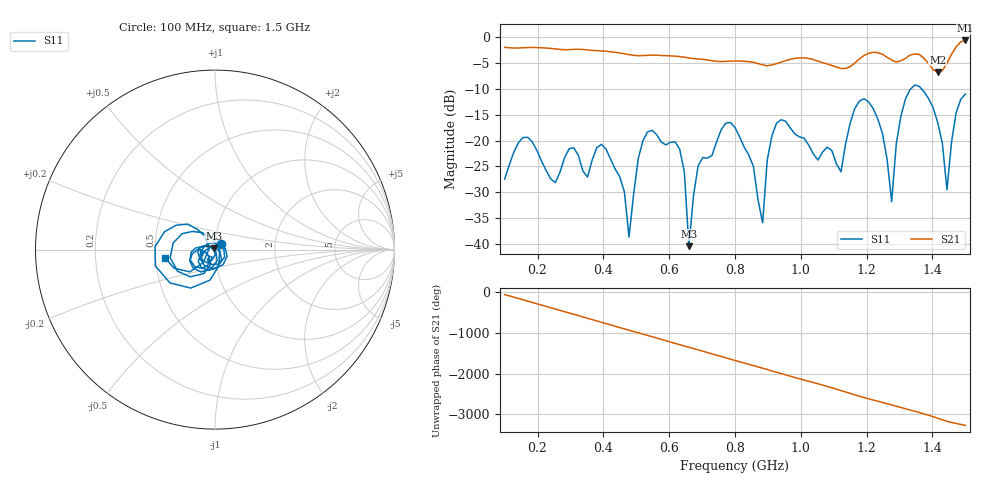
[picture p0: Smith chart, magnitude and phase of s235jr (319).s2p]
! NanoVNA-App
! Date: 2025-09-25 15:06:39
! Start: 100MHz Stop: 1,5GHz Points: 101
! S-Parameter data: F S11 S21 S12 S22
# Hz S RI R 50
!  Frequency  S11_Real  S11_Imag  S21_Real  S21_Imag  S12_Real  S12_Imag  S22_Real  S22_Imag
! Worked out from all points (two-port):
!   101 points, 100 MHz to 1.5 GHz, reference 50 ohm
!   highest |S21| = -0.63 dB at 1.5 GHz (marker M1); lowest = -6.7 dB at 1.416 GHz (marker M2)
!   |S21| within 3 dB of the highest: start of sweep to 607.4 MHz; 1.19 GHz to 1.256 GHz (65.88 MHz wide, 5.39 % of centre) (the widest 2 of 4)
!   lowest |S11| = -40.4 dB at 660 MHz (marker M3), VSWR 1.02, Z = 49.3 + j0.606 ohm
!   |S11| at or under -10 dB: start of sweep to 1.334 GHz; 1.367 GHz to end of sweep
!   S12 and S22 are empty: the file has one direction only
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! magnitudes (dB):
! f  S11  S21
! 100 MHz  -27.5  -2.0
! 156 MHz  -19.4  -2.0
! 338 MHz  -25.9  -2.4
! 408 MHz  -21.6  -2.7
! 478 MHz  -38.7  -3.4
! 520 MHz  -20.1  -3.5
! 576 MHz  -20.3  -3.5
! 632 MHz  -21.7  -3.7
! 660 MHz  -40.4  -4.0
! 688 MHz  -24.9  -4.2
! 800 MHz  -17.5  -4.6
! 884 MHz  -35.9  -5.4
! 926 MHz  -16.7  -5.1
! 1.038 GHz  -22.6  -4.3
! 1.122 GHz  -26.0  -6.1
! 1.192 GHz  -11.9  -3.5
! 1.248 GHz  -18.6  -3.3
! 1.276 GHz  -31.8  -4.4
! 1.332 GHz  -10.1  -3.5
! 1.416 GHz  -16.5  -6.7
! 1.444 GHz  -29.5  -5.0
! 1.5 GHz  -11.0  -0.6
